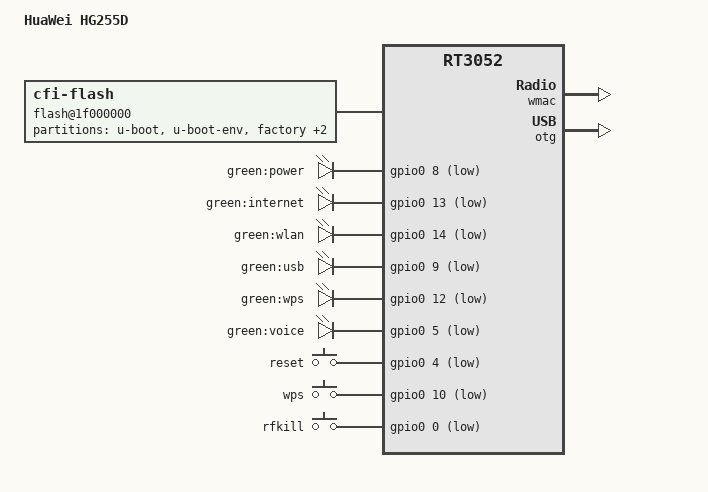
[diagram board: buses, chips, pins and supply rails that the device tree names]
#include "rt3050.dtsi"

#include <dt-bindings/gpio/gpio.h>
#include <dt-bindings/input/input.h>

/ {
	compatible = "huawei,hg255d", "ralink,rt3052-soc";
	model = "HuaWei HG255D";

	aliases {
		led-boot = &led_power;
		led-failsafe = &led_power;
		led-running = &led_power;
		led-upgrade = &led_power;
	};

	flash@1f000000 {
		compatible = "cfi-flash";
		reg = <0x1f000000 0x1000000>;
		bank-width = <2>;
		device-width = <2>;

		partitions {
			compatible = "fixed-partitions";
			#address-cells = <1>;
			#size-cells = <1>;

			partition@0 {
				label = "u-boot";
				reg = <0x0 0x40000>;
				read-only;
			};

			partition@30000 {
				label = "u-boot-env";
				reg = <0x40000 0x20000>;
				read-only;
			};

			factory: partition@60000 {
				label = "factory";
				reg = <0x60000 0x20000>;
				read-only;
			};

			partition@80000 {
				compatible = "denx,uimage";
				label = "firmware";
				reg = <0x80000 0xf60000>;
			};

			partition@fa0000 {
				label = "factory-orig";
				reg = <0xfa0000 0x20000>;
				read-only;
			};
		};
	};

	leds {
		compatible = "gpio-leds";

		led_power: power {
			label = "green:power";
			gpios = <&gpio0 8 GPIO_ACTIVE_LOW>;
		};

		internet {
			label = "green:internet";
			gpios = <&gpio0 13 GPIO_ACTIVE_LOW>;
		};

		wifi {
			label = "green:wlan";
			gpios = <&gpio0 14 GPIO_ACTIVE_LOW>;
		};

		usb {
			label = "green:usb";
			gpios = <&gpio0 9 GPIO_ACTIVE_LOW>;
			trigger-sources = <&otg_port1>;
			linux,default-trigger = "usbport";
		};

		wps {
			label = "green:wps";
			gpios = <&gpio0 12 GPIO_ACTIVE_LOW>;
		};

		voice {
			label = "green:voice";
			gpios = <&gpio0 5 GPIO_ACTIVE_LOW>;
		};
	};

	keys {
		compatible = "gpio-keys-polled";
		poll-interval = <10>;

		reset {
			label = "reset";
			gpios = <&gpio0 4 GPIO_ACTIVE_LOW>;
			linux,code = <KEY_RESTART>;
		};

		wps {
			label = "wps";
			gpios = <&gpio0 10 GPIO_ACTIVE_LOW>;
			linux,code = <KEY_WPS_BUTTON>;
		};

		rfkill {
			label = "rfkill";
			gpios = <&gpio0 0 GPIO_ACTIVE_LOW>;
			linux,code = <KEY_RFKILL>;
		};
	};
};

&state_default {
	gpio {
		groups = "spi", "i2c", "jtag", "rgmii", "mdio", "uartf";
		function = "gpio";
	};
};

&ethernet {
	nvmem-cells = <&macaddr_factory_28>;
	nvmem-cell-names = "mac-address";
};

&esw {
	mediatek,portmap = <0x2f>;
};

&wmac {
	ralink,mtd-eeprom = <&factory 0x0>;
};

&otg {
	status = "okay";
};

&factory {
	compatible = "nvmem-cells";
	#address-cells = <1>;
	#size-cells = <1>;

	macaddr_factory_28: macaddr@28 {
		reg = <0x28 0x6>;
	};
};
